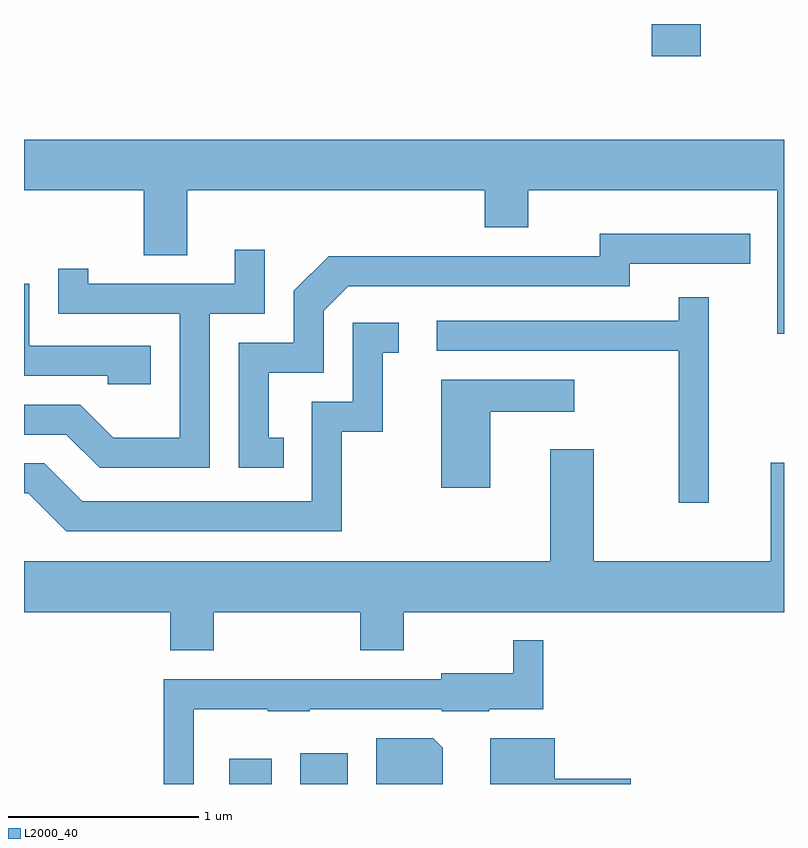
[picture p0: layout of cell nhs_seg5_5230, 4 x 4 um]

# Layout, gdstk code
import gdstk
lib = gdstk.Library(unit=1e-6, precision=1e-09)
def R(c, l, rs):  # rectangles x0, y0, x1, y1
    for r in rs: c.add(gdstk.rectangle(r[:2], r[2:], *l))
def P(c, l, *ps):  # polygons
    for p in ps: c.add(gdstk.Polygon(p, *l))
L2000_40 = (2000, 40)

nhs_seg5_5230 = lib.new_cell('nhs_seg5_5230')
R(nhs_seg5_5230, L2000_40, [(340.691,1498.072,340.914,1498.204), (341.066,1498.072,341.314,1498.234), (342.916,1501.901,343.174,1502.072)])
P(nhs_seg5_5230, L2000_40, [(339.611,1501.196),(340.241,1501.196),(340.241,1500.856),(340.469,1500.856),(340.469,1501.196),(342.036,1501.196),(342.036,1501.001),(342.264,1501.001),(342.264,1501.196),(343.576,1501.196),(343.576,1500.443),(343.611,1500.443),(343.611,1501.464),(339.611,1501.464)],
  [(340.978,1499.894),(340.899,1499.894),(340.899,1500.236),(341.189,1500.236),(341.189,1500.564),(341.317,1500.691),(342.799,1500.691),(342.799,1500.811),(343.433,1500.811),(343.433,1500.969),(342.641,1500.969),(342.641,1500.849),(341.214,1500.849),(341.031,1500.667),(341.031,1500.394),(340.741,1500.394),(340.741,1499.736),(340.978,1499.736)],
  [(340.589,1500.546),(340.879,1500.546),(340.879,1500.883),(340.721,1500.883),(340.721,1500.704),(339.949,1500.704),(339.949,1500.783),(339.791,1500.783),(339.791,1500.546),(340.431,1500.546),(340.431,1499.894),(340.082,1499.894),(339.907,1500.069),(339.611,1500.069),(339.611,1499.911),(339.834,1499.911),(340.009,1499.736),(340.589,1499.736)],
  [(340.279,1500.379),(339.639,1500.379),(339.639,1500.704),(339.611,1500.704),(339.611,1500.221),(340.051,1500.221),(340.051,1500.176),(340.279,1500.176)],
  [(343.214,1500.633),(343.056,1500.633),(343.056,1500.509),(341.783,1500.509),(341.783,1500.351),(343.056,1500.351),(343.056,1499.553),(343.214,1499.553)],
  [(341.284,1499.926),(341.499,1499.926),(341.499,1500.341),(341.583,1500.341),(341.583,1500.499),(341.341,1500.499),(341.341,1500.084),(341.126,1500.084),(341.126,1499.559),(339.917,1499.559),(339.717,1499.759),(339.611,1499.759),(339.611,1499.601),(339.634,1499.601),(339.834,1499.401),(341.284,1499.401)],
  [(342.064,1500.031),(342.508,1500.031),(342.508,1500.199),(341.806,1500.199),(341.806,1499.631),(342.064,1499.631)],
  [(340.609,1498.976),(341.381,1498.976),(341.381,1498.776),(341.609,1498.776),(341.609,1498.976),(343.611,1498.976),(343.611,1499.764),(343.541,1499.764),(343.541,1499.244),(342.609,1499.244),(342.609,1499.834),(342.381,1499.834),(342.381,1499.244),(339.611,1499.244),(339.611,1498.976),(340.381,1498.976),(340.381,1498.776),(340.609,1498.776)],
  [(340.504,1498.466),(340.895,1498.466),(340.895,1498.456),(341.115,1498.456),(341.115,1498.466),(341.81,1498.466),(341.81,1498.456),(342.06,1498.456),(342.06,1498.466),(342.344,1498.466),(342.344,1498.828),(342.186,1498.828),(342.186,1498.654),(341.806,1498.654),(341.806,1498.624),(340.346,1498.624),(340.346,1498.072),(340.504,1498.072)],
  [(342.804,1498.099),(342.404,1498.099),(342.404,1498.314),(342.066,1498.314),(342.066,1498.072),(342.804,1498.072)],
  [(341.814,1498.264),(341.764,1498.314),(341.466,1498.314),(341.466,1498.072),(341.814,1498.072)])

lib.write_gds('nhs_seg5_5230.gds')
